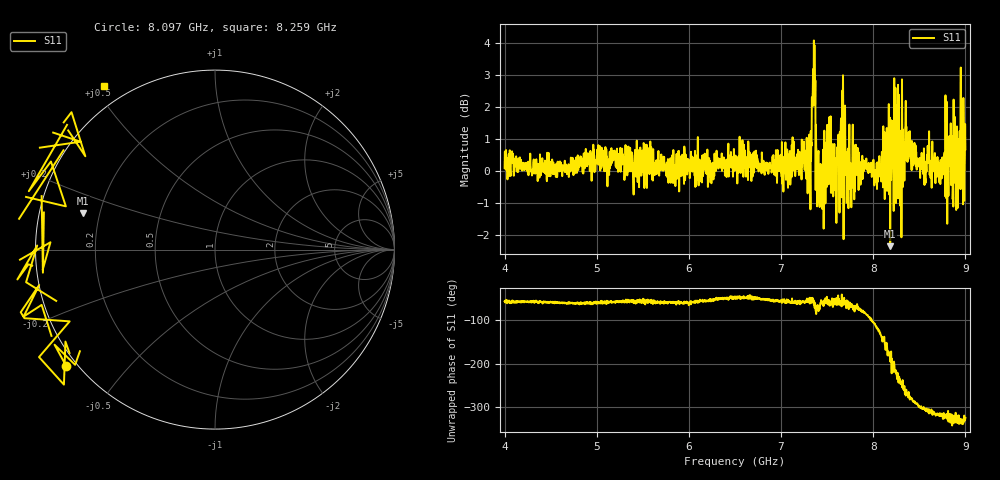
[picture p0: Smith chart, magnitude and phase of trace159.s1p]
! Created with skrf 1.8.0 (http://scikit-rf.org).
# Hz S RI R 50.0
!freq ReS11 ImS11
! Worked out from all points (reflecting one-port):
!   1601 points, 4 GHz to 9 GHz, reference 50 ohm
!   lowest |S11| = -2.4 dB at 8.184 GHz (marker M1), VSWR 7.41, Z = 6.87 + j6.65 ohm
!   phase of S11 starts at -56 deg and turns -269 deg over the sweep
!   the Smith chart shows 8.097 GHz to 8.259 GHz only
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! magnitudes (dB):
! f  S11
! 4 GHz  0.1
! 4.625 GHz  -0.2
! 5.25 GHz  0.0
! 5.875 GHz  0.2
! 6.5 GHz  0.1
! 7.125 GHz  1.0
! 7.294 GHz  0.2
! 7.312 GHz  1.0
! 7.347 GHz  3.2
! 7.362 GHz  3.9
! 7.4 GHz  -0.2
! 7.416 GHz  -1.0
! 7.438 GHz  -0.4
! 7.512 GHz  1.0
! 7.578 GHz  0.8
! 7.669 GHz  1.6
! 7.691 GHz  0.5
! 7.703 GHz  0.6
! 7.75 GHz  0.0
! 7.828 GHz  0.2
! 8.034 GHz  -0.2
! 8.184 GHz  -2.4
! 8.253 GHz  0.8
! 8.316 GHz  0.6
! 8.334 GHz  0.5
! 8.375 GHz  0.5
! 8.556 GHz  -0.4
! 9 GHz  0.7
